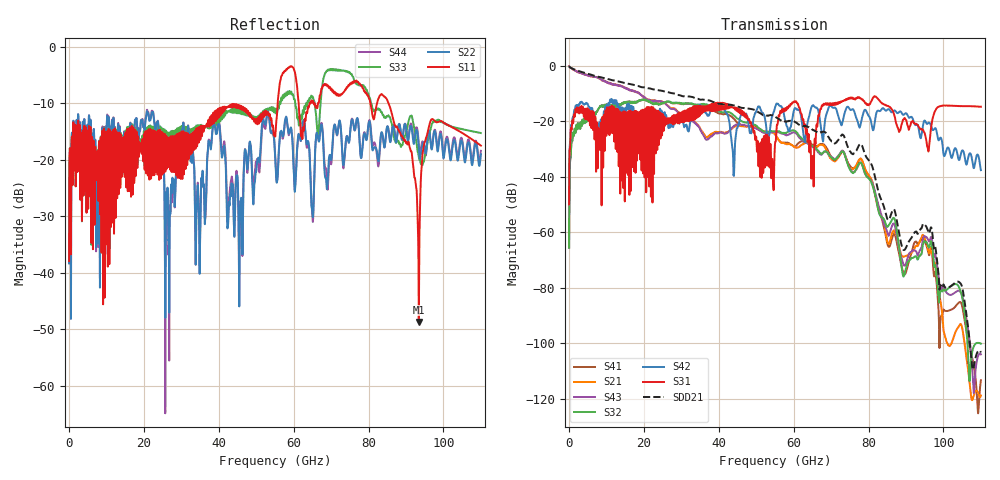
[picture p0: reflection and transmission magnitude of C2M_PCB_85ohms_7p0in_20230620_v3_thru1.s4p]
! Info: Touchstone file created by Circ.  Input file=C2M_PCB_85ohms_7p0in_20230620_v3.circ
# Hz S RI R 50
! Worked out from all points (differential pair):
!   11000 points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, 10 MHz to 110 GHz, reference 50 ohm
!   strongest paths, dB at 10 MHz, 27.51 GHz, 55.01 GHz, 82.51 GHz, 110 GHz:
!     S31: -49.9, -18.3, -28.0, -11.9, -14.7
!     S42: -49.8, -20.8, -14.9, -16.1, -37.6
!     S32: -65.5, -13.3, -23.5, -51.5, -100.1
!     S43: -0.1, -15.6, -23.9, -49.5, -104.0
!     S21: -0.1, -15.3, -24.6, -51.4, -118.8
!     S41: -65.5, -13.5, -24.7, -50.4, -113.3
!   taken as a pair (ports 3,1 in; 4,2 out), SDD21 dB: -0.1, -9.8, -18.2, -44.7, -103.3
!   lowest |S11| = -48.7 dB at 93.41 GHz (marker M1), VSWR 1.01, Z = 49.6 - j0.0793 ohm
!   |S11| at or under -10 dB: start of sweep to 55.71 GHz; 61.33 GHz to 64.22 GHz (2.896 GHz wide, 4.61 % of centre); 85.32 GHz to end of sweep (the widest 3 of 6)
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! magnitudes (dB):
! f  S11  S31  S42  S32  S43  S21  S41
! 10 MHz  -37.9  -49.9  -49.8  -65.5  -0.1  -0.1  -65.5
! 8.32 GHz  -20.6  -30.3  -22.4  -14.5  -4.7  -4.7  -14.5
! 36.27 GHz  -14.3  -15.5  -16.7  -13.7  -26.0  -25.2  -14.1
! 54.41 GHz  -13.9  -38.8  -17.7  -23.6  -24.0  -24.0  -24.1
! 73.07 GHz  -8.2  -12.6  -20.2  -30.8  -30.6  -30.9  -30.7
! 93.41 GHz  -48.7  -22.1  -22.8  -69.0  -67.5  -64.1  -63.9
! 110 GHz  -17.5  -14.7  -37.6  -100.1  -104.0  -118.8  -113.3
